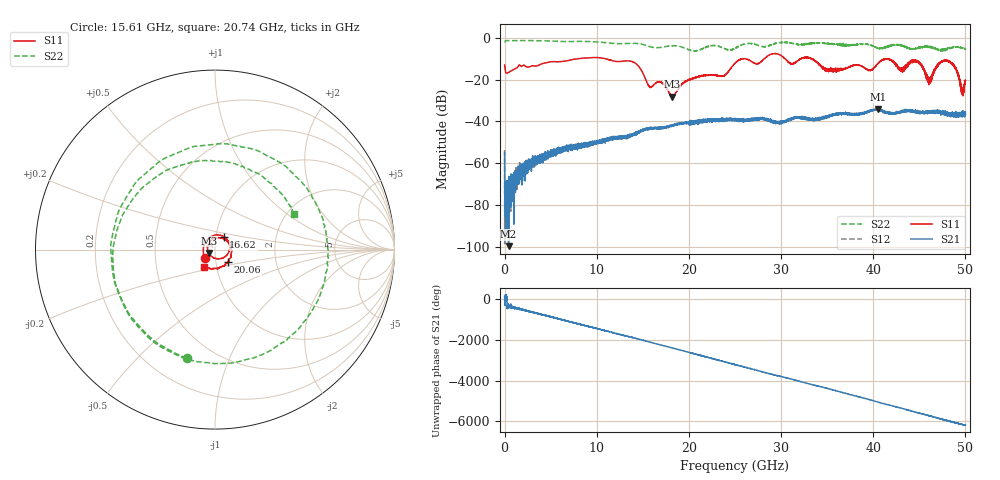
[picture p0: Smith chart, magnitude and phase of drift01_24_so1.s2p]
!Created with skrf (http://scikit-rf.org).
# Hz S RI R 50.0
!freq ReS11 ImS11 ReS21 ImS21 ReS12 ImS12 ReS22 ImS22
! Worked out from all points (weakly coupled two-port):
!   10001 points, 300 kHz to 50 GHz, reference 50 ohm
!   highest |S21| = -34.07 dB at 40.55 GHz (marker M1); lowest = -99.5 dB at 435.3 MHz (marker M2)
!   lowest |S11| = -28.2 dB at 18.18 GHz (marker M3), VSWR 1.08, Z = 46.7 - j1.76 ohm
!   |S11| at or under -10 dB: start of sweep to 8.061 GHz; 10.89 GHz to 25.99 GHz (15.09 GHz wide, 81.9 % of centre); 33.27 GHz to end of sweep (the widest 3 of 13)
!   |S22| runs from -6.4 to -1.4 dB; largest |S21 - S12| = 0.0046
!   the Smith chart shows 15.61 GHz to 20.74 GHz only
!   S11 on the Smith chart (normalised r, x): 15.61 GHz: 0.89, -0.08; 16.62 GHz: 1.09, +0.16; 20.06 GHz: 1.14, -0.16; 20.74 GHz: 0.87, -0.17
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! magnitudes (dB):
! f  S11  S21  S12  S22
! 300 kHz  -13.1  -54.9  -53.6  -2.1
! 255.3 MHz  -16.9  -79.1  -75.6  -1.4
! 435.3 MHz  -16.5  -99.5  -79.3  -1.4
! 3.17 GHz  -13.5  -59.4  -59.0  -1.4
! 8.335 GHz  -9.9  -50.3  -51.0  -1.8
! 13.88 GHz  -11.5  -46.7  -46.6  -2.7
! 15.61 GHz  -22.9  -43.5  -43.1  -4.1
! 16.62 GHz  -21.3  -43.2  -43.2  -4.8
! 16.67 GHz  -21.1  -43.0  -43.2  -4.8
! 18.18 GHz  -28.2  -42.1  -42.1  -3.9
! 20.06 GHz  -20.0  -40.8  -40.6  -6.0
! 20.74 GHz  -19.0  -41.0  -40.2  -6.3
! 25 GHz  -12.2  -39.6  -39.2  -5.1
! 33.34 GHz  -10.1  -39.0  -39.1  -2.7
! 35.14 GHz  -15.8  -37.4  -37.5  -2.8
! 40.55 GHz  -12.1  -34.1  -34.6  -5.1
! 41.67 GHz  -10.4  -36.1  -35.9  -4.2
! 44.82 GHz  -11.5  -35.7  -35.4  -5.0
! 46.11 GHz  -20.5  -35.6  -35.7  -4.6
! 48.04 GHz  -11.3  -35.5  -36.3  -5.2
! 49.64 GHz  -24.1  -35.8  -36.5  -4.8
! 50 GHz  -20.5  -35.4  -36.6  -5.4
